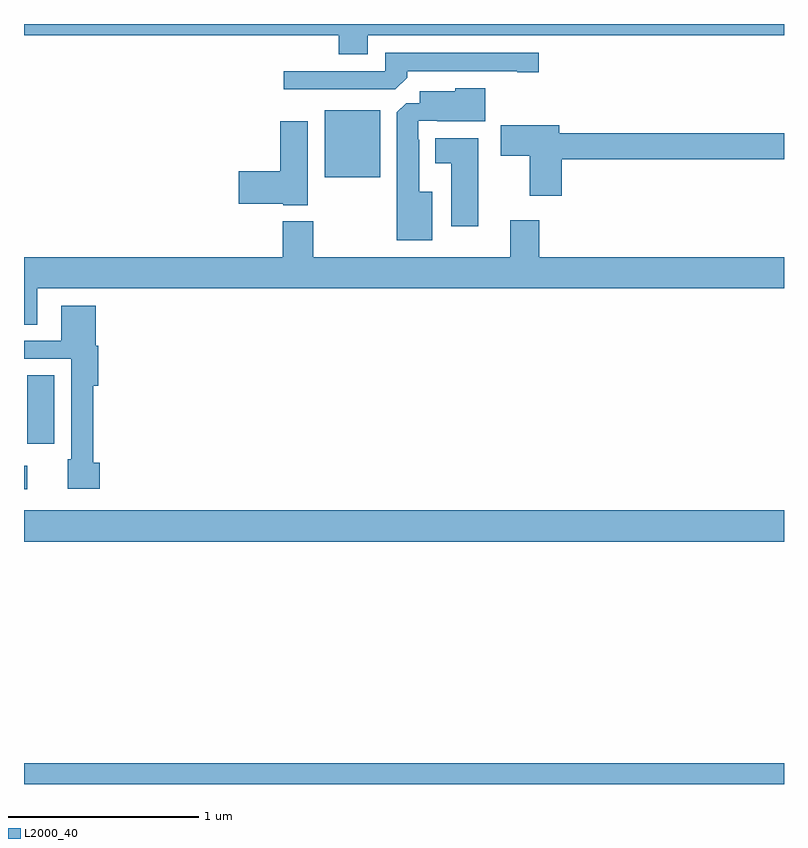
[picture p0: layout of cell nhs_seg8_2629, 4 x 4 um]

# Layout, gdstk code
import gdstk
lib = gdstk.Library(unit=1e-6, precision=1e-09)
def R(c, l, rs):  # rectangles x0, y0, x1, y1
    for r in rs: c.add(gdstk.rectangle(r[:2], r[2:], *l))
def P(c, l, *ps):  # polygons
    for p in ps: c.add(gdstk.Polygon(p, *l))
L2000_40 = (2000, 40)

nhs_seg8_2629 = lib.new_cell('nhs_seg8_2629')
R(nhs_seg8_2629, L2000_40, [(277,1105.9,281,1106.008), (277,1107.176,281,1107.34), (277,1107.452,277.018,1107.574), (277.016,1107.69,277.159,1108.052), (278.582,1109.093,278.875,1109.446)])
P(nhs_seg8_2629, L2000_40, [(278.809,1109.84),(281,1109.84),(281,1109.9),(277,1109.9),(277,1109.84),(278.657,1109.84),(278.657,1109.741),(278.809,1109.741)],
  [(279.017,1109.618),(279.017,1109.652),(279.596,1109.652),(279.596,1109.647),(279.709,1109.647),(279.709,1109.748),(278.901,1109.748),(278.901,1109.652),(278.367,1109.652),(278.367,1109.556),(278.955,1109.556)],
  [(279.148,1109.017),(279.079,1109.017),(279.079,1109.291),(279.075,1109.291),(279.075,1109.391),(279.175,1109.391),(279.175,1109.387),(279.427,1109.387),(279.427,1109.563),(279.27,1109.563),(279.27,1109.545),(279.083,1109.545),(279.083,1109.484),(279.012,1109.484),(278.963,1109.435),(278.963,1108.763),(279.148,1108.763)],
  [(278.494,1109.389),(278.348,1109.389),(278.348,1109.126),(278.13,1109.126),(278.13,1108.955),(278.364,1108.955),(278.364,1108.946),(278.494,1108.946)],
  [(279.83,1109.188),(281,1109.188),(281,1109.324),(279.817,1109.324),(279.817,1109.368),(279.51,1109.368),(279.51,1109.206),(279.662,1109.206),(279.662,1108.995),(279.83,1108.995)],
  [(279.391,1109.299),(279.164,1109.299),(279.164,1109.168),(279.248,1109.168),(279.248,1108.836),(279.391,1108.836)],
  [(277.069,1108.508),(281,1108.508),(281,1108.672),(279.713,1108.672),(279.713,1108.867),(279.56,1108.867),(279.56,1108.672),(278.523,1108.672),(278.523,1108.861),(278.363,1108.861),(278.363,1108.672),(277,1108.672),(277,1108.318),(277.069,1108.318)],
  [(277.399,1107.591),(277.364,1107.591),(277.364,1107.995),(277.391,1107.995),(277.391,1108.206),(277.378,1108.206),(277.378,1108.417),(277.196,1108.417),(277.196,1108.233),(277,1108.233),(277,1108.137),(277.248,1108.137),(277.248,1107.609),(277.229,1107.609),(277.229,1107.453),(277.399,1107.453)])

lib.write_gds('nhs_seg8_2629.gds')
